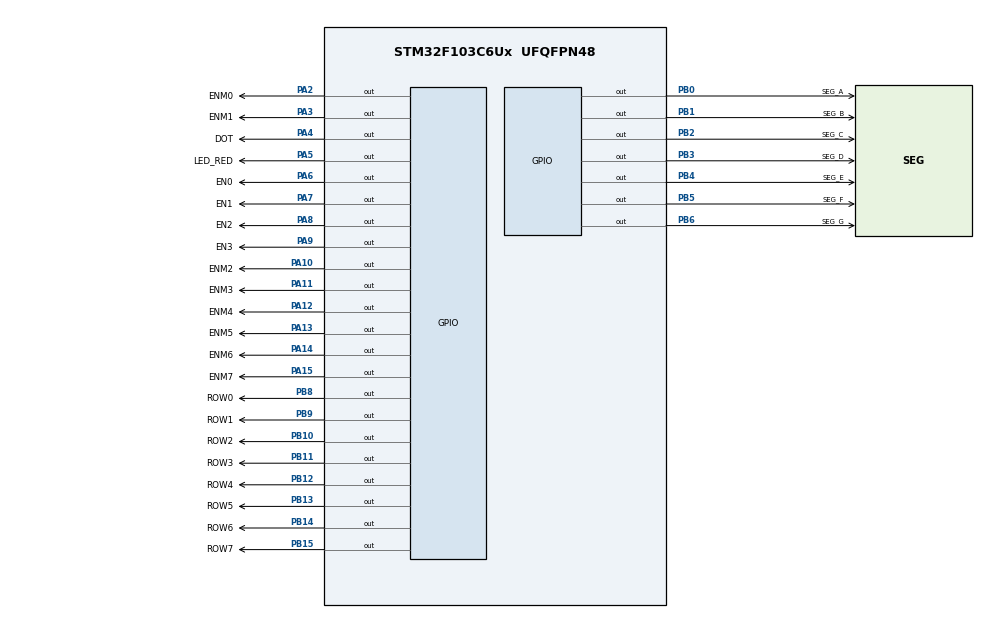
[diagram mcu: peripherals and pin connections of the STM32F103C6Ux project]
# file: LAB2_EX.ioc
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Mcu.Family=STM32F1
Mcu.Name=STM32F103C6Ux
Mcu.Package=UFQFPN48
NVIC.PriorityGroup=NVIC_PRIORITYGROUP_4
NVIC.TIM2_IRQn=true\:0\:0\:false\:false\:true\:true\:true
PA10.GPIO_Label=ENM2
PA10.Signal=GPIO_Output
PA11.GPIO_Label=ENM3
PA11.Signal=GPIO_Output
PA12.GPIO_Label=ENM4
PA12.Signal=GPIO_Output
PA13.GPIO_Label=ENM5
PA13.Signal=GPIO_Output
PA14.GPIO_Label=ENM6
PA14.Signal=GPIO_Output
PA15.GPIO_Label=ENM7
PA15.Signal=GPIO_Output
PA2.GPIO_Label=ENM0
PA2.Signal=GPIO_Output
PA3.GPIO_Label=ENM1
PA3.Signal=GPIO_Output
PA4.GPIO_Label=DOT
PA4.Signal=GPIO_Output
PA5.GPIO_Label=LED_RED
PA5.Signal=GPIO_Output
PA6.GPIO_Label=EN0
PA6.Signal=GPIO_Output
PA7.GPIO_Label=EN1
PA7.Signal=GPIO_Output
PA8.GPIO_Label=EN2
PA8.Signal=GPIO_Output
PA9.GPIO_Label=EN3
PA9.Signal=GPIO_Output
PB0.GPIO_Label=SEG_A
PB0.Signal=GPIO_Output
PB1.GPIO_Label=SEG_B
PB1.Signal=GPIO_Output
PB10.GPIO_Label=ROW2
PB10.Signal=GPIO_Output
PB11.GPIO_Label=ROW3
PB11.Signal=GPIO_Output
PB12.GPIO_Label=ROW4
PB12.Signal=GPIO_Output
PB13.GPIO_Label=ROW5
PB13.Signal=GPIO_Output
PB14.GPIO_Label=ROW6
PB14.Signal=GPIO_Output
PB15.GPIO_Label=ROW7
PB15.Signal=GPIO_Output
PB2.GPIO_Label=SEG_C
PB2.Signal=GPIO_Output
PB3.GPIO_Label=SEG_D
PB3.Signal=GPIO_Output
PB4.GPIO_Label=SEG_E
PB4.Signal=GPIO_Output
PB5.GPIO_Label=SEG_F
PB5.Signal=GPIO_Output
PB6.GPIO_Label=SEG_G
PB6.Signal=GPIO_Output
PB8.GPIO_Label=ROW0
PB8.Signal=GPIO_Output
PB9.GPIO_Label=ROW1
PB9.Signal=GPIO_Output
ProjectManager.HeapSize=0x200
ProjectManager.StackSize=0x400
ProjectManager.TargetToolchain=STM32CubeIDE
RCC.APB1Freq_Value=8000000
RCC.APB2Freq_Value=8000000
TIM2.Period=9
TIM2.Prescaler=7999
VP_SYS_VS_ND.Mode=No_Debug
VP_TIM2_VS_ClockSourceINT.Mode=Internal
board=custom

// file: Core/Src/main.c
/* USER CODE BEGIN Header */
/**
  ******************************************************************************
  * @file           : main.c
  * @brief          : Main program body
  ******************************************************************************
  * @attention
  *
  * <h2><center>&copy; Copyright (c) 2023 STMicroelectronics.
  * All rights reserved.</center></h2>
  *
  * This software component is licensed by ST under BSD 3-Clause license,
  * the "License"; You may not use this file except in compliance with the
  * License. You may obtain a copy of the License at:
  *                        opensource.org/licenses/BSD-3-Clause
  *
  ******************************************************************************
  */
/* USER CODE END Header */
#include "main.h"

/* USER CODE BEGIN Includes */
#include "software_timer.h"
/* USER CODE END Includes */

TIM_HandleTypeDef htim2;

void SystemClock_Config(void);
static void MX_TIM2_Init(void);
static void MX_GPIO_Init(void);

/* USER CODE BEGIN 0 */
const int MAX_LED = 4;
const int MAX_LED_MATRIX = 8;

// counter for second, minute, hour update
const int timer1 = 100;

// counter for DOT led
const int timer2 = 100;

// counter for scanning leds
const int timer3 = 10;

// counter for shifting frame
const int timer4 = 50;

int hour = 9 , minute = 8 , second = 50;

uint8_t matrix_buffer[8] = {0x00,0x3F,0x7F,0xCC,0xCC,0x7F,0x3F,0x00};

void updateClockBuffer();
void display7SEG(int number);
void update7SEG(int index);
void displayCol(int index);
void updateLEDMatrix(int index);
/* USER CODE END 0 */

int main(void)
{

  /* MCU Configuration--------------------------------------------------------*/

  /* Reset of all peripherals, Initializes the Flash interface and the Systick. */
  HAL_Init();

  /* Configure the system clock */
  SystemClock_Config();

  /* Initialize all configured peripherals */
  MX_TIM2_Init();
  MX_GPIO_Init();
  /* USER CODE BEGIN 2 */
  HAL_TIM_Base_Start_IT(&htim2);
  /* USER CODE END 2 */

  /* Infinite loop */
  /* USER CODE BEGIN WHILE */

  setTimer1(timer1);
  setTimer2(timer2);
  setTimer3(timer3);
  setTimer4(timer4);

  // status for 4 7SEG leds
  int status = 0;
  int index_led_matrix = 0;

  while (1)
  {
	  if(timer1_flag == 1)
	  {
		  second++;
		  if(second >= 60)
		  {
			  second = 0;
			  minute++;
		  }

		  if(minute >= 60)
		  {
			  minute = 0;
			  hour++;
		  }

		  if(hour >= 24)
		  {
			  hour = 0;
		  }

		  updateClockBuffer();
		  setTimer1(timer1);
	  }

	  if(timer2_flag == 1)
	  {
		  HAL_GPIO_TogglePin(DOT_GPIO_Port, DOT_Pin);
		  setTimer2(timer2);
	  }

	  if(timer3_flag == 1)
	  {
		  HAL_GPIO_TogglePin(LED_RED_GPIO_Port, LED_RED_Pin);
		  update7SEG(status);
		  updateLEDMatrix(index_led_matrix);
		  //next status
		  status++;
		  index_led_matrix++;
		  if(status >= MAX_LED)
		  {
			  status = 0;
		  }

		  if(index_led_matrix >= MAX_LED_MATRIX)
		  {
			  index_led_matrix = 0;
		  }

		  setTimer3(timer3);
	  }

	  if(timer4_flag == 1)
	  {
		  	uint8_t temp = matrix_buffer[0];
		  	int k;
		    for (k = 0; k < MAX_LED_MATRIX - 1; k++) //shift the array values from point i
		    {
              matrix_buffer[k] = matrix_buffer[k+1];
		    }

		    matrix_buffer[k] = temp;

		    setTimer4(timer4);
	  }
  }
  /* USER CODE END 3 */
}

void SystemClock_Config(void)
{
  RCC_OscInitTypeDef RCC_OscInitStruct = {0};
  RCC_ClkInitTypeDef RCC_ClkInitStruct = {0};

  /** Initializes the RCC Oscillators according to the specified parameters
  * in the RCC_OscInitTypeDef structure.
  */
  RCC_OscInitStruct.OscillatorType = RCC_OSCILLATORTYPE_HSI;
  RCC_OscInitStruct.HSIState = RCC_HSI_ON;
  RCC_OscInitStruct.HSICalibrationValue = RCC_HSICALIBRATION_DEFAULT;
  RCC_OscInitStruct.PLL.PLLState = RCC_PLL_NONE;
  if (HAL_RCC_OscConfig(&RCC_OscInitStruct) != HAL_OK)
  {
    Error_Handler();
  }
  /** Initializes the CPU, AHB and APB buses clocks
  */
  RCC_ClkInitStruct.ClockType = RCC_CLOCKTYPE_HCLK|RCC_CLOCKTYPE_SYSCLK
                              |RCC_CLOCKTYPE_PCLK1|RCC_CLOCKTYPE_PCLK2;
  RCC_ClkInitStruct.SYSCLKSource = RCC_SYSCLKSOURCE_HSI;
  RCC_ClkInitStruct.AHBCLKDivider = RCC_SYSCLK_DIV1;
  RCC_ClkInitStruct.APB1CLKDivider = RCC_HCLK_DIV1;
  RCC_ClkInitStruct.APB2CLKDivider = RCC_HCLK_DIV1;

  if (HAL_RCC_ClockConfig(&RCC_ClkInitStruct, FLASH_LATENCY_0) != HAL_OK)
  {
    Error_Handler();
  }
}

static void MX_TIM2_Init(void)
{

  TIM_ClockConfigTypeDef sClockSourceConfig = {0};
  TIM_MasterConfigTypeDef sMasterConfig = {0};

  htim2.Instance = TIM2;
  htim2.Init.Prescaler = 7999;
  htim2.Init.CounterMode = TIM_COUNTERMODE_UP;
  htim2.Init.Period = 9;
  htim2.Init.ClockDivision = TIM_CLOCKDIVISION_DIV1;
  htim2.Init.AutoReloadPreload = TIM_AUTORELOAD_PRELOAD_DISABLE;
  if (HAL_TIM_Base_Init(&htim2) != HAL_OK)
  {
    Error_Handler();
  }
  sClockSourceConfig.ClockSource = TIM_CLOCKSOURCE_INTERNAL;
  if (HAL_TIM_ConfigClockSource(&htim2, &sClockSourceConfig) != HAL_OK)
  {
    Error_Handler();
  }
  sMasterConfig.MasterOutputTrigger = TIM_TRGO_RESET;
  sMasterConfig.MasterSlaveMode = TIM_MASTERSLAVEMODE_DISABLE;
  if (HAL_TIMEx_MasterConfigSynchronization(&htim2, &sMasterConfig) != HAL_OK)
  {
    Error_Handler();
  }

}

static void MX_GPIO_Init(void)
{
  GPIO_InitTypeDef GPIO_InitStruct = {0};

  /* GPIO Ports Clock Enable */
  __HAL_RCC_GPIOA_CLK_ENABLE();
  __HAL_RCC_GPIOB_CLK_ENABLE();

  /*Configure GPIO pin Output Level */
  HAL_GPIO_WritePin(GPIOA, ENM0_Pin|ENM1_Pin|DOT_Pin|LED_RED_Pin
                          |EN0_Pin|EN1_Pin|EN2_Pin|EN3_Pin
                          |ENM2_Pin|ENM3_Pin|ENM4_Pin|ENM5_Pin
                          |ENM6_Pin|ENM7_Pin, GPIO_PIN_RESET);

  /*Configure GPIO pin Output Level */
  HAL_GPIO_WritePin(GPIOB, SEG_A_Pin|SEG_B_Pin|SEG_C_Pin|ROW2_Pin
                          |ROW3_Pin|ROW4_Pin|ROW5_Pin|ROW6_Pin
                          |ROW7_Pin|SEG_D_Pin|SEG_E_Pin|SEG_F_Pin
                          |SEG_G_Pin|ROW0_Pin|ROW1_Pin, GPIO_PIN_RESET);

  /*Configure GPIO pins : ENM0_Pin ENM1_Pin DOT_Pin LED_RED_Pin
                           EN0_Pin EN1_Pin EN2_Pin EN3_Pin
                           ENM2_Pin ENM3_Pin ENM4_Pin ENM5_Pin
                           ENM6_Pin ENM7_Pin */
  GPIO_InitStruct.Pin = ENM0_Pin|ENM1_Pin|DOT_Pin|LED_RED_Pin
                          |EN0_Pin|EN1_Pin|EN2_Pin|EN3_Pin
                          |ENM2_Pin|ENM3_Pin|ENM4_Pin|ENM5_Pin
                          |ENM6_Pin|ENM7_Pin;
  GPIO_InitStruct.Mode = GPIO_MODE_OUTPUT_PP;
  GPIO_InitStruct.Pull = GPIO_NOPULL;
  GPIO_InitStruct.Speed = GPIO_SPEED_FREQ_LOW;
  HAL_GPIO_Init(GPIOA, &GPIO_InitStruct);

  /*Configure GPIO pins : SEG_A_Pin SEG_B_Pin SEG_C_Pin ROW2_Pin
                           ROW3_Pin ROW4_Pin ROW5_Pin ROW6_Pin
                           ROW7_Pin SEG_D_Pin SEG_E_Pin SEG_F_Pin
                           SEG_G_Pin ROW0_Pin ROW1_Pin */
  GPIO_InitStruct.Pin = SEG_A_Pin|SEG_B_Pin|SEG_C_Pin|ROW2_Pin
                          |ROW3_Pin|ROW4_Pin|ROW5_Pin|ROW6_Pin
                          |ROW7_Pin|SEG_D_Pin|SEG_E_Pin|SEG_F_Pin
                          |SEG_G_Pin|ROW0_Pin|ROW1_Pin;
  GPIO_InitStruct.Mode = GPIO_MODE_OUTPUT_PP;
  GPIO_InitStruct.Pull = GPIO_NOPULL;
  GPIO_InitStruct.Speed = GPIO_SPEED_FREQ_LOW;
  HAL_GPIO_Init(GPIOB, &GPIO_InitStruct);

}

/* USER CODE BEGIN 4 */
int led_buffer [4] = {1 , 2 , 3 , 4};

uint16_t matrixRow [8] = {ROW0_Pin, ROW1_Pin, ROW2_Pin, ROW3_Pin, ROW4_Pin, ROW5_Pin, ROW6_Pin, ROW7_Pin};

void HAL_TIM_PeriodElapsedCallback(TIM_HandleTypeDef *htim)
{
	timerRun();
}

void updateClockBuffer()
{
	led_buffer[0] = hour / 10;
	led_buffer[1] = hour % 10;

	led_buffer[2] = minute / 10;
	led_buffer[3] = minute % 10;
}

void update7SEG ( int index ) {
	switch ( index ) {
	  case 0:
		  // turn on led 0 and turn off led 1,2,3
		  HAL_GPIO_WritePin(GPIOA, EN1_Pin | EN2_Pin | EN3_Pin, SET);
		  HAL_GPIO_WritePin(GPIOA, EN0_Pin, RESET);
		  // display number 1
		  display7SEG(led_buffer[index]);
		  break;
	  case 1:
		  // turn on led 1 and turn off led 0,2,3
		  HAL_GPIO_WritePin(GPIOA, EN0_Pin | EN2_Pin | EN3_Pin, SET);
		  HAL_GPIO_WritePin(GPIOA, EN1_Pin, RESET);
		  // display number 2
		  display7SEG(led_buffer[index]);
		  break;
	  case 2:
		  // turn on led 2 and turn off led 0,1,3
		  HAL_GPIO_WritePin(GPIOA, EN0_Pin | EN1_Pin | EN3_Pin, SET);
		  HAL_GPIO_WritePin(GPIOA, EN2_Pin, RESET);
		  // display number 3
		  display7SEG(led_buffer[index]);
		  break;
	  case 3:
		  // turn on led 3 and turn off led 0,1,2
		  HAL_GPIO_WritePin(GPIOA, EN0_Pin | EN1_Pin | EN2_Pin, SET);
		  HAL_GPIO_WritePin(GPIOA, EN3_Pin, RESET);
		  // display number 0
		  display7SEG(led_buffer[index]);
		  break;
	  default:
		  break;
	}
}

void display7SEG(int number)
{
	switch(number)
	{
		case 0:
			HAL_GPIO_WritePin(GPIOB, SEG_A_Pin | SEG_B_Pin | SEG_C_Pin | SEG_D_Pin | SEG_E_Pin | SEG_F_Pin, RESET);
			HAL_GPIO_WritePin(GPIOB, SEG_G_Pin, SET);
			break;
		case 1:
			HAL_GPIO_WritePin(GPIOB, SEG_B_Pin | SEG_C_Pin, RESET);
			HAL_GPIO_WritePin(GPIOB, SEG_A_Pin | SEG_G_Pin | SEG_D_Pin | SEG_E_Pin | SEG_F_Pin, SET);
			break;
		case 2:
			HAL_GPIO_WritePin(GPIOB, SEG_A_Pin | SEG_B_Pin | SEG_D_Pin | SEG_E_Pin | SEG_G_Pin, RESET);
			HAL_GPIO_WritePin(GPIOB,  SEG_F_Pin | SEG_C_Pin, SET);
			break;
		case 3:
			HAL_GPIO_WritePin(GPIOB, SEG_A_Pin | SEG_B_Pin | SEG_C_Pin | SEG_D_Pin | SEG_G_Pin, RESET);
			HAL_GPIO_WritePin(GPIOB, SEG_E_Pin | SEG_F_Pin, SET);
			break;
		case 4:
			HAL_GPIO_WritePin(GPIOB, SEG_B_Pin | SEG_C_Pin | SEG_F_Pin | SEG_G_Pin, RESET);
			HAL_GPIO_WritePin(GPIOB, SEG_A_Pin | SEG_D_Pin | SEG_E_Pin, SET);
			break;
		case 5:
			HAL_GPIO_WritePin(GPIOB, SEG_A_Pin | SEG_C_Pin | SEG_D_Pin | SEG_F_Pin | SEG_G_Pin, RESET);
			HAL_GPIO_WritePin(GPIOB, SEG_B_Pin | SEG_E_Pin, SET);
			break;
		case 6:
			HAL_GPIO_WritePin(GPIOB, SEG_A_Pin | SEG_C_Pin | SEG_D_Pin | SEG_E_Pin | SEG_F_Pin | SEG_G_Pin, RESET);
			HAL_GPIO_WritePin(GPIOB, SEG_B_Pin, SET);
			break;
		case 7:
			HAL_GPIO_WritePin(GPIOB, SEG_A_Pin | SEG_B_Pin | SEG_C_Pin, RESET);
			HAL_GPIO_WritePin(GPIOB, SEG_D_Pin | SEG_E_Pin | SEG_F_Pin | SEG_G_Pin, SET);
			break;
		case 8:
			HAL_GPIO_WritePin(GPIOB, SEG_A_Pin | SEG_B_Pin | SEG_C_Pin | SEG_D_Pin | SEG_E_Pin | SEG_F_Pin | SEG_G_Pin, RESET);
			break;
		case 9:
			HAL_GPIO_WritePin(GPIOB, SEG_A_Pin | SEG_B_Pin | SEG_C_Pin | SEG_F_Pin | SEG_G_Pin, RESET);
			HAL_GPIO_WritePin(GPIOB, SEG_D_Pin | SEG_E_Pin, SET);
			break;
	}
}

void displayCol(int index)
{
	int bit_pos = 1;
	int pos = 7;

	while (pos >= 0)
	{
		// get each position of bit of each row value
      HAL_GPIO_WritePin(GPIOB, matrixRow[pos], !(matrix_buffer[index] & bit_pos));
      bit_pos = bit_pos*2;
	  pos--;
	}
}

void updateLEDMatrix (int index ) {
	switch( index )
	{
		case 0:
			HAL_GPIO_WritePin(GPIOA, ENM0_Pin, 0);
			HAL_GPIO_WritePin(GPIOA, ENM1_Pin | ENM2_Pin | ENM3_Pin | ENM4_Pin | ENM5_Pin | ENM6_Pin | ENM7_Pin, 1);
			displayCol(index);
			break;
		case 1:
			HAL_GPIO_WritePin(GPIOA, ENM1_Pin, 0);
			HAL_GPIO_WritePin(GPIOA, ENM0_Pin | ENM2_Pin | ENM3_Pin | ENM4_Pin | ENM5_Pin | ENM6_Pin| ENM7_Pin, 1);
			displayCol(index);
			break;
		case 2:
			HAL_GPIO_WritePin(GPIOA, ENM2_Pin, 0);
			HAL_GPIO_WritePin(GPIOA, ENM1_Pin | ENM0_Pin | ENM3_Pin | ENM4_Pin | ENM5_Pin | ENM6_Pin | ENM7_Pin, 1);
			displayCol(index);
			break;
		case 3:
			HAL_GPIO_WritePin(GPIOA, ENM3_Pin, 0);
			HAL_GPIO_WritePin(GPIOA, ENM1_Pin | ENM2_Pin | ENM0_Pin | ENM4_Pin | ENM5_Pin | ENM6_Pin | ENM7_Pin, 1);
			displayCol(index);
			break;
		case 4:
			HAL_GPIO_WritePin(GPIOA, ENM4_Pin, 0);
			HAL_GPIO_WritePin(GPIOA, ENM1_Pin | ENM2_Pin | ENM3_Pin | ENM0_Pin | ENM5_Pin | ENM6_Pin | ENM7_Pin, 1);
			displayCol(index);
			break;
		case 5:
			HAL_GPIO_WritePin(GPIOA, ENM5_Pin, 0);
			HAL_GPIO_WritePin(GPIOA, ENM1_Pin | ENM2_Pin | ENM3_Pin | ENM4_Pin | ENM0_Pin | ENM6_Pin | ENM7_Pin, 1);
			displayCol(index);
			break;
		case 6:
			HAL_GPIO_WritePin(GPIOA, ENM6_Pin, 0);
			HAL_GPIO_WritePin(GPIOA, ENM1_Pin | ENM2_Pin | ENM3_Pin | ENM4_Pin | ENM5_Pin | ENM0_Pin | ENM7_Pin, 1);
			displayCol(index);
			break;
		case 7:
			HAL_GPIO_WritePin(GPIOA, ENM7_Pin, 0);
			HAL_GPIO_WritePin(GPIOA, ENM1_Pin | ENM2_Pin | ENM3_Pin | ENM4_Pin | ENM5_Pin | ENM6_Pin | ENM0_Pin, 1);
			displayCol(index);
			break;
		default:
			break;
	}
}

/* USER CODE END 4 */

void Error_Handler(void)
{
  __disable_irq();
  while (1)
  {
  }
}

/************************ (C) COPYRIGHT STMicroelectronics *****END OF FILE****/
